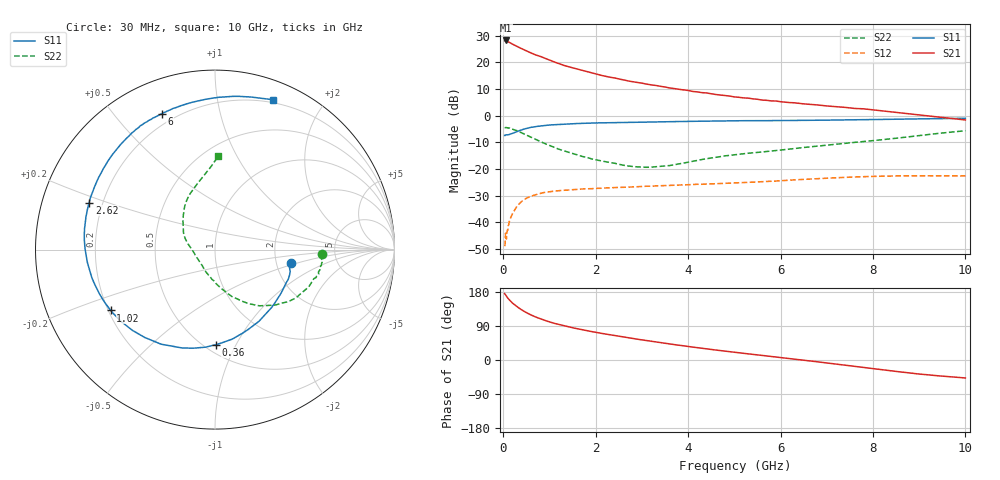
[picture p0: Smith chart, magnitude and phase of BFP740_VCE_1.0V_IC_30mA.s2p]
! Infineon Technologies  Discrete & RF Semiconductors
! BFP740
! VCE =  1.0 V,  IC =  30 mA
! Common Emitter S-Parameters:  Jan 2016
# GHz  S  MA  R  50
!  f  S11  S21  S12  S22
! GHz  MAG  ANG  MAG  ANG  MAG  ANG  MAG  ANG
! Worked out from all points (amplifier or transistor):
!   229 points, 30 MHz to 10 GHz, reference 50 ohm
!   highest |S21| = 28.2 dB at 50 MHz (marker M1)
!   |S21| within 3 dB of that: start of sweep to 389.1 MHz
!   unconditionally stable (mu >= 1): start of sweep to 171.3 MHz; 2.439 GHz to end of sweep
!   at 280 MHz: K = 0.75, MSG = 30.3 dB, |S12| = -34.4 dB
!   at 1.78 GHz: K = 0.83, MSG = 22.0 dB, |S12| = -27.4 dB
!   at 10 GHz: K = 1.54, MAG = 6.2 dB, |S12| = -22.6 dB
!   S11 on the Smith chart (normalised r, x): 30 MHz: 2.40, -0.43; 360 MHz: 0.57, -0.84; 1.02 GHz: 0.21, -0.26; 2.62 GHz: 0.15, +0.18; 6 GHz: 0.15, +0.67; 10 GHz: 0.17, +1.44
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0.03  0.4272 -9.8  25.39 175.1  0.0036 39.1  0.5949 -2.5
0.04  0.4253 -13.0  25.16 173.6  0.0039 47.9  0.5974 -3.7
0.05  0.4366 -16.4  25.74 172.1  0.0063 34.5  0.5963 -5.3
0.08  0.4376 -25.4  25.16 166.4  0.0066 53.4  0.599 -8.4
0.12  0.4425 -37.5  23.98 160.3  0.0091 62.8  0.5934 -13.4
0.2  0.4685 -58.4  21.98 150.2  0.0146 59.9  0.5623 -21.7
0.3  0.5079 -79.1  19.93 140.4  0.0204 55.4  0.5257 -30.8
0.36  0.5292 -89.3  18.73 135.4  0.023 52.2  0.4961 -36.0
0.45  0.5627 -102.5  17.18 128.4  0.0264 47.9  0.4571 -42.5
0.64  0.6129 -123.3  14.52 116.8  0.0319 39.5  0.3831 -53.8
0.84  0.6487 -138.5  12.56 107.1  0.0357 33.5  0.3175 -63.3
1.02  0.6725 -149.7  10.91 99.9  0.0379 29.5  0.274 -70.8
1.32  0.698 -164.1  8.735 90.0  0.0402 24.9  0.2191 -80.9
1.7  0.7192 -177.4  7.096 80.0  0.0424 21.3  0.1733 -92.2
2.1  0.7358 171.4  5.748 70.9  0.0436 18.4  0.1433 -105.7
2.62  0.7483 159.5  4.667 60.3  0.0457 16.4  0.1174 -124.3
3.4  0.7682 144.2  3.564 45.9  0.0488 13.8  0.1125 -160.7
5.1  0.8054 120.1  2.215 19.0  0.0555 9.4  0.1897 155.1
6  0.8129 111.5  1.833 6.6  0.0606 7.2  0.2278 141.4
6.8  0.8238 103.3  1.593 -4.8  0.0662 3.1  0.2701 130.3
8.4  0.8591 83.5  1.183 -28.7  0.0743 -8.5  0.3705 106.9
10  0.8948 68.9  0.834 -47.4  0.0745 -18.2  0.5231 88.1
